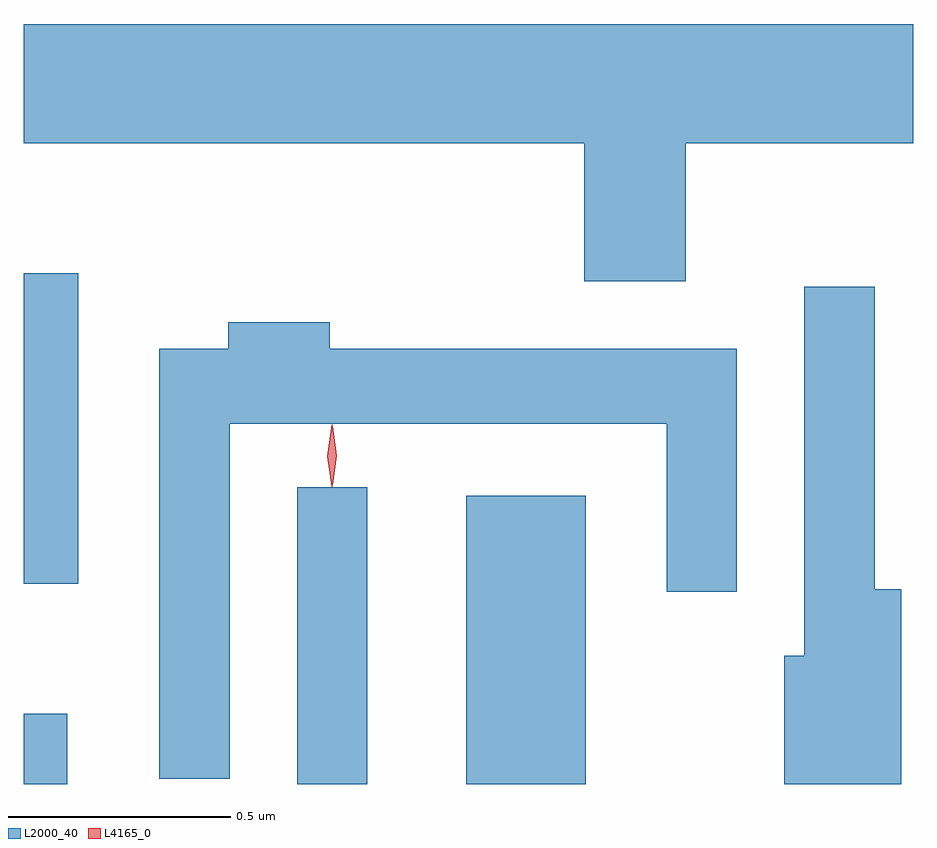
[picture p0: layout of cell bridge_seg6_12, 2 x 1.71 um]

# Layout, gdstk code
import gdstk
lib = gdstk.Library(unit=1e-6, precision=1e-09)
def R(c, l, rs):  # rectangles x0, y0, x1, y1
    for r in rs: c.add(gdstk.rectangle(r[:2], r[2:], *l))
def P(c, l, *ps):  # polygons
    for p in ps: c.add(gdstk.Polygon(p, *l))
L2000_40 = (2000, 40)
L4165_0 = (4165, 0)

bridge_seg6_12 = lib.new_cell('bridge_seg6_12')
R(bridge_seg6_12, L2000_40, [(1460.791,1639.616,1460.889,1639.774), (1461.406,1639.616,1461.564,1640.283), (1461.786,1639.616,1462.054,1640.264), (1460.791,1640.066,1460.914,1640.764)])
P(bridge_seg6_12, L2000_40, [(1462.279,1641.056),(1462.791,1641.056),(1462.791,1641.324),(1460.791,1641.324),(1460.791,1641.056),(1462.051,1641.056),(1462.051,1640.746),(1462.279,1640.746)],
  [(1462.764,1640.054),(1462.704,1640.054),(1462.704,1640.733),(1462.546,1640.733),(1462.546,1639.904),(1462.501,1639.904),(1462.501,1639.616),(1462.764,1639.616)],
  [(1461.254,1640.426),(1462.236,1640.426),(1462.236,1640.048),(1462.394,1640.048),(1462.394,1640.594),(1461.479,1640.594),(1461.479,1640.654),(1461.251,1640.654),(1461.251,1640.594),(1461.096,1640.594),(1461.096,1639.628),(1461.254,1639.628)])
P(bridge_seg6_12, L4165_0, [(1461.484,1640.284),(1461.484,1640.284),(1461.474,1640.353),(1461.484,1640.423),(1461.484,1640.423),(1461.485,1640.423),(1461.494,1640.353),(1461.485,1640.284)],
  [(1461.485,1640.287),(1461.485,1640.288),(1461.475,1640.354),(1461.485,1640.42),(1461.485,1640.421),(1461.486,1640.42),(1461.495,1640.354),(1461.486,1640.288)])

lib.write_gds('bridge_seg6_12.gds')
